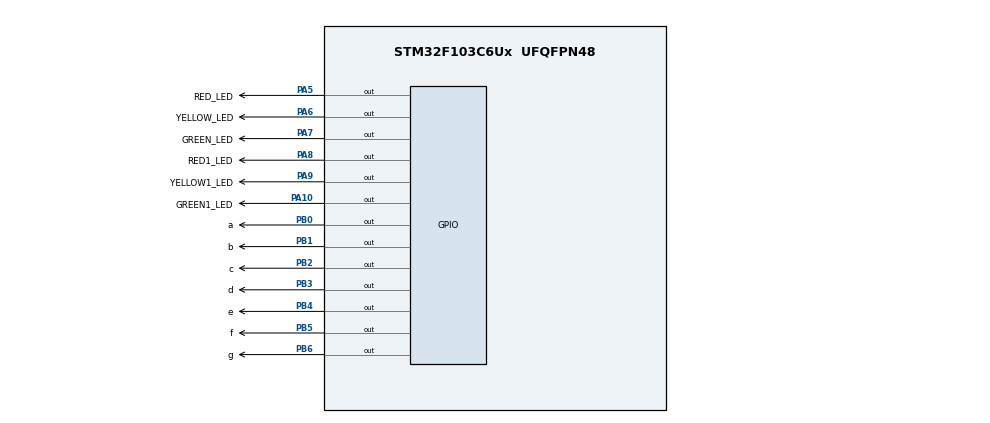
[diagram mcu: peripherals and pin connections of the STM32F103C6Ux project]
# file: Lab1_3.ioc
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Mcu.Family=STM32F1
Mcu.Name=STM32F103C6Ux
Mcu.Package=UFQFPN48
NVIC.PriorityGroup=NVIC_PRIORITYGROUP_4
PA10.GPIO_Label=GREEN1_LED
PA10.Signal=GPIO_Output
PA5.GPIO_Label=RED_LED
PA5.Signal=GPIO_Output
PA6.GPIO_Label=YELLOW_LED
PA6.Signal=GPIO_Output
PA7.GPIO_Label=GREEN_LED
PA7.Signal=GPIO_Output
PA8.GPIO_Label=RED1_LED
PA8.Signal=GPIO_Output
PA9.GPIO_Label=YELLOW1_LED
PA9.Signal=GPIO_Output
PB0.GPIO_Label=a
PB0.Signal=GPIO_Output
PB1.GPIO_Label=b
PB1.Signal=GPIO_Output
PB2.GPIO_Label=c
PB2.Signal=GPIO_Output
PB3.GPIO_Label=d
PB3.Signal=GPIO_Output
PB4.GPIO_Label=e
PB4.Signal=GPIO_Output
PB5.GPIO_Label=f
PB5.Signal=GPIO_Output
PB6.GPIO_Label=g
PB6.Signal=GPIO_Output
ProjectManager.HeapSize=0x200
ProjectManager.StackSize=0x400
ProjectManager.TargetToolchain=STM32CubeIDE
RCC.APB1Freq_Value=8000000
RCC.APB2Freq_Value=8000000
VP_SYS_VS_ND.Mode=No_Debug
board=custom

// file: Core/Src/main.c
/* USER CODE BEGIN Header */
/**
  ******************************************************************************
  * @file           : main.c
  * @brief          : Main program body
  ******************************************************************************
  * @attention
  *
  * <h2><center>&copy; Copyright (c) 2023 STMicroelectronics.
  * All rights reserved.</center></h2>
  *
  * This software component is licensed by ST under BSD 3-Clause license,
  * the "License"; You may not use this file except in compliance with the
  * License. You may obtain a copy of the License at:
  *                        opensource.org/licenses/BSD-3-Clause
  *
  ******************************************************************************
  */
/* USER CODE END Header */
#include "main.h"

/* USER CODE BEGIN Includes */
#include "LED.h"
#include "7SEG.h"
/* USER CODE END Includes */

void SystemClock_Config(void);
static void MX_GPIO_Init(void);

int main(void)
{

  /* MCU Configuration--------------------------------------------------------*/

  /* Reset of all peripherals, Initializes the Flash interface and the Systick. */
  HAL_Init();

  /* Configure the system clock */
  SystemClock_Config();

  /* Initialize all configured peripherals */
  MX_GPIO_Init();
  /* USER CODE BEGIN 2 */
  int counter = 5;
  enum TrafficLightState {
    RED_GREEN1,
  	RED_YELLOW1,
  	GREEN_RED1,
  	YELLOW_RED1,
    };
  //initialize
  enum TrafficLightState current = RED_GREEN1;
  /* USER CODE END 2 */

  /* Infinite loop */
  while (1)
  {

    /* USER CODE BEGIN 3 */
	  //state machine
	  switch(current){
	  	  case RED_GREEN1:
	  		  	LED_ON(0);
	  		  	LED_ON1(5);
	  		  	display7SEG(counter);
	  		  	counter --;
	  		  	if(counter <= 2){
	  		  		current = RED_YELLOW1;
	  		  	}
	  			break;
	  	  case RED_YELLOW1:
	  		  	LED_ON(0);
	  		  	LED_ON1(4);
	  		  	display7SEG(counter);
	  		  	counter --;
	  		  	if(counter < 0){
	  		  		current = GREEN_RED1;
	  		  		counter = 3;
	  		  	}
	  		  	break;
	  	  case GREEN_RED1:
	  		  	LED_ON(2);
	  		  	LED_ON1(3);
	  		  	display7SEG(counter);
	  		  	counter --;
	  		  	if(counter < 0){
	  		  		current = YELLOW_RED1;
	  		  		counter = 2;
	  		  	}
	  		  	break;
	  	  case YELLOW_RED1:
	  		  	LED_ON(1);
	  		  	LED_ON1(3);
	  		  	display7SEG(counter);
	  		  	counter --;
	  		  	if(counter < 0){
	  		  		current = RED_GREEN1;
	  		  		counter = 5;
	  		  	}
	  		  	break;
	  }
	  HAL_Delay(1000);
  }
  /* USER CODE END 3 */
}

void SystemClock_Config(void)
{
  RCC_OscInitTypeDef RCC_OscInitStruct = {0};
  RCC_ClkInitTypeDef RCC_ClkInitStruct = {0};

  /** Initializes the RCC Oscillators according to the specified parameters
  * in the RCC_OscInitTypeDef structure.
  */
  RCC_OscInitStruct.OscillatorType = RCC_OSCILLATORTYPE_HSI;
  RCC_OscInitStruct.HSIState = RCC_HSI_ON;
  RCC_OscInitStruct.HSICalibrationValue = RCC_HSICALIBRATION_DEFAULT;
  RCC_OscInitStruct.PLL.PLLState = RCC_PLL_NONE;
  if (HAL_RCC_OscConfig(&RCC_OscInitStruct) != HAL_OK)
  {
    Error_Handler();
  }
  /** Initializes the CPU, AHB and APB buses clocks
  */
  RCC_ClkInitStruct.ClockType = RCC_CLOCKTYPE_HCLK|RCC_CLOCKTYPE_SYSCLK
                              |RCC_CLOCKTYPE_PCLK1|RCC_CLOCKTYPE_PCLK2;
  RCC_ClkInitStruct.SYSCLKSource = RCC_SYSCLKSOURCE_HSI;
  RCC_ClkInitStruct.AHBCLKDivider = RCC_SYSCLK_DIV1;
  RCC_ClkInitStruct.APB1CLKDivider = RCC_HCLK_DIV1;
  RCC_ClkInitStruct.APB2CLKDivider = RCC_HCLK_DIV1;

  if (HAL_RCC_ClockConfig(&RCC_ClkInitStruct, FLASH_LATENCY_0) != HAL_OK)
  {
    Error_Handler();
  }
}

static void MX_GPIO_Init(void)
{
  GPIO_InitTypeDef GPIO_InitStruct = {0};

  /* GPIO Ports Clock Enable */
  __HAL_RCC_GPIOA_CLK_ENABLE();
  __HAL_RCC_GPIOB_CLK_ENABLE();

  /*Configure GPIO pin Output Level */
  HAL_GPIO_WritePin(GPIOA, RED_LED_Pin|YELLOW_LED_Pin|GREEN_LED_Pin|RED1_LED_Pin
                          |YELLOW1_LED_Pin|GREEN1_LED_Pin, GPIO_PIN_RESET);

  /*Configure GPIO pin Output Level */
  HAL_GPIO_WritePin(GPIOB, a_Pin|b_Pin|c_Pin|d_Pin
                          |e_Pin|f_Pin|g_Pin, GPIO_PIN_RESET);

  /*Configure GPIO pins : RED_LED_Pin YELLOW_LED_Pin GREEN_LED_Pin RED1_LED_Pin
                           YELLOW1_LED_Pin GREEN1_LED_Pin */
  GPIO_InitStruct.Pin = RED_LED_Pin|YELLOW_LED_Pin|GREEN_LED_Pin|RED1_LED_Pin
                          |YELLOW1_LED_Pin|GREEN1_LED_Pin;
  GPIO_InitStruct.Mode = GPIO_MODE_OUTPUT_PP;
  GPIO_InitStruct.Pull = GPIO_NOPULL;
  GPIO_InitStruct.Speed = GPIO_SPEED_FREQ_LOW;
  HAL_GPIO_Init(GPIOA, &GPIO_InitStruct);

  /*Configure GPIO pins : a_Pin b_Pin c_Pin d_Pin
                           e_Pin f_Pin g_Pin */
  GPIO_InitStruct.Pin = a_Pin|b_Pin|c_Pin|d_Pin
                          |e_Pin|f_Pin|g_Pin;
  GPIO_InitStruct.Mode = GPIO_MODE_OUTPUT_PP;
  GPIO_InitStruct.Pull = GPIO_NOPULL;
  GPIO_InitStruct.Speed = GPIO_SPEED_FREQ_LOW;
  HAL_GPIO_Init(GPIOB, &GPIO_InitStruct);

}

void Error_Handler(void)
{
  __disable_irq();
  while (1)
  {
  }
}

/************************ (C) COPYRIGHT STMicroelectronics *****END OF FILE****/
